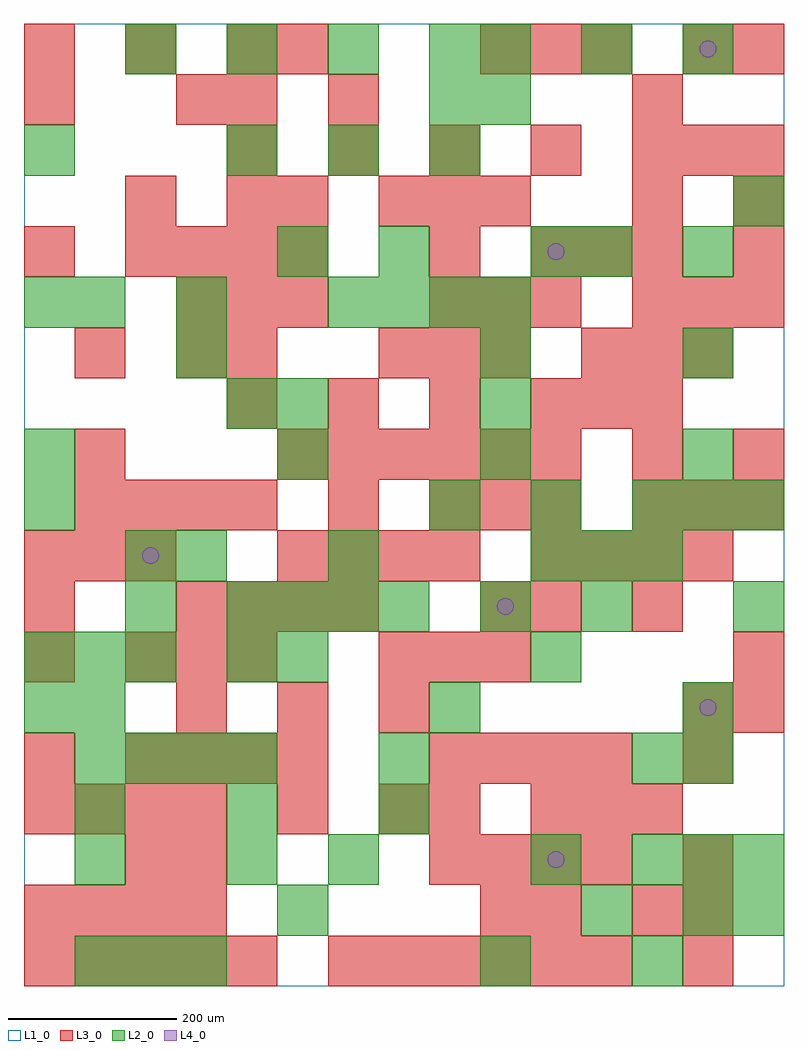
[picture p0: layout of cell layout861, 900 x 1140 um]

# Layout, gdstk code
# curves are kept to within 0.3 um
import gdstk
lib = gdstk.Library(unit=1e-6, precision=1e-09)
def R(c, l, rs):  # rectangles x0, y0, x1, y1
    for r in rs: c.add(gdstk.rectangle(r[:2], r[2:], *l))
def A(c, l, x, y, w, h, nx, ny, dx, dy):  # array of equal rectangles
    R(c, l, [(x+i*dx, y+j*dy, x+i*dx+w, y+j*dy+h) for i in range(nx) for j in range(ny)])
def P(c, l, *ps):  # polygons
    for p in ps: c.add(gdstk.Polygon(p, *l))
L1_0 = (1, 0)
L2_0 = (2, 0)
L3_0 = (3, 0)
L4_0 = (4, 0)

layout861 = lib.new_cell('layout861')
R(layout861, L1_0, [(0,0,900,1140)])
A(layout861, L2_0, 60, 0, 60, 60, 3, 1, 60, 0)
A(layout861, L2_0, 300, 60, 60, 60, 1, 3, 0, 300)
A(layout861, L2_0, 720, 120, 60, 60, 3, 1, 60, 0)
A(layout861, L2_0, 60, 180, 60, 60, 3, 1, 180, 0)
A(layout861, L2_0, 60, 240, 60, 60, 4, 1, 60, 0)
A(layout861, L2_0, 0, 360, 60, 60, 3, 1, 60, 0)
A(layout861, L2_0, 240, 420, 60, 60, 4, 1, 60, 0)
A(layout861, L2_0, 600, 480, 60, 60, 3, 1, 60, 0)
A(layout861, L2_0, 480, 540, 60, 60, 3, 1, 120, 0)
A(layout861, L2_0, 0, 600, 60, 60, 1, 3, 0, 180)
A(layout861, L2_0, 300, 600, 60, 60, 3, 1, 240, 0)
A(layout861, L2_0, 360, 780, 60, 60, 4, 1, 60, 0)
A(layout861, L2_0, 240, 960, 60, 60, 3, 1, 120, 0)
A(layout861, L2_0, 120, 1080, 60, 60, 4, 1, 120, 0)
A(layout861, L2_0, 540, 1080, 60, 60, 3, 1, 120, 0)
R(layout861, L2_0, [(540,0,600,60), (720,0,780,60), (660,60,720,120), (780,60,840,120), (840,60,900,120), (60,120,120,180), (240,120,300,180), (360,120,420,180), (600,120,660,180), (420,240,480,300), (720,240,780,300), (780,240,840,300), (0,300,60,360), (60,300,120,360), (480,300,540,360), (780,300,840,360), (240,360,300,420), (600,360,660,420), (120,420,180,480), (540,420,600,480), (660,420,720,480), (840,420,900,480), (120,480,180,540), (180,480,240,540), (360,480,420,540), (0,540,60,600), (780,540,840,600), (840,540,900,600), (240,660,300,720), (540,660,600,720), (180,720,240,780), (540,720,600,780), (780,720,840,780), (60,780,120,840), (180,780,240,840), (300,840,360,900), (420,840,480,900), (600,840,660,900), (660,840,720,900), (780,840,840,900), (840,900,900,960), (480,1020,540,1080), (540,1020,600,1080)])
A(layout861, L3_0, 0, 0, 60, 60, 5, 1, 60, 0)
A(layout861, L3_0, 360, 0, 60, 60, 6, 1, 60, 0)
A(layout861, L3_0, 780, 0, 60, 60, 1, 3, 0, 60)
A(layout861, L3_0, 0, 60, 60, 60, 4, 2, 60, 120)
A(layout861, L3_0, 480, 120, 60, 60, 4, 2, 60, 120)
A(layout861, L3_0, 600, 180, 60, 60, 3, 2, 60, 660)
A(layout861, L3_0, 120, 240, 60, 60, 4, 2, 60, 600)
A(layout861, L3_0, 180, 300, 60, 60, 3, 1, 120, 0)
A(layout861, L3_0, 120, 360, 60, 60, 3, 1, 60, 0)
A(layout861, L3_0, 420, 360, 60, 60, 3, 2, 60, 360)
A(layout861, L3_0, 840, 360, 60, 60, 1, 3, 0, 240)
A(layout861, L3_0, 180, 420, 60, 60, 4, 1, 60, 0)
A(layout861, L3_0, 0, 480, 60, 60, 3, 1, 60, 0)
A(layout861, L3_0, 300, 480, 60, 60, 4, 1, 60, 0)
A(layout861, L3_0, 600, 480, 60, 60, 4, 1, 60, 0)
A(layout861, L3_0, 60, 540, 60, 60, 4, 1, 60, 0)
A(layout861, L3_0, 480, 540, 60, 60, 3, 2, 60, 240)
A(layout861, L3_0, 720, 540, 60, 60, 3, 2, 60, 240)
A(layout861, L3_0, 300, 600, 60, 60, 6, 1, 60, 0)
A(layout861, L3_0, 240, 660, 60, 60, 4, 1, 120, 0)
A(layout861, L3_0, 660, 720, 60, 60, 3, 1, 60, 0)
A(layout861, L3_0, 180, 780, 60, 60, 3, 1, 60, 0)
A(layout861, L3_0, 420, 900, 60, 60, 3, 1, 60, 0)
A(layout861, L3_0, 240, 960, 60, 60, 5, 1, 120, 0)
A(layout861, L3_0, 0, 1080, 60, 60, 3, 1, 120, 0)
A(layout861, L3_0, 540, 1080, 60, 60, 3, 1, 60, 0)
R(layout861, L3_0, [(540,60,600,120), (600,60,660,120), (720,60,780,120), (120,120,180,180), (180,120,240,180), (300,180,360,240), (420,180,480,240), (480,180,540,240), (0,240,60,300), (780,240,840,300), (780,300,840,360), (840,300,900,360), (0,360,60,420), (0,420,60,480), (540,420,600,480), (600,420,660,480), (720,420,780,480), (360,540,420,600), (60,600,120,660), (720,600,780,660), (660,660,720,720), (720,660,780,720), (60,720,120,780), (180,720,240,780), (240,720,300,780), (0,840,60,900), (480,840,540,900), (120,900,180,960), (240,900,300,960), (300,900,360,960), (720,900,780,960), (840,900,900,960), (780,960,840,1020), (840,960,900,1020), (0,1020,60,1080), (180,1020,240,1080), (240,1020,300,1080), (360,1020,420,1080), (720,1020,780,1080), (300,1080,360,1140), (780,1080,840,1140), (840,1080,900,1140)])
P(layout861, L4_0, [(160,510),(159.239,513.827),(157.071,517.071),(153.827,519.239),(150,520),(146.173,519.239),(142.929,517.071),(140.761,513.827),(140,510),(140.761,506.173),(142.929,502.929),(146.173,500.761),(150,500),(153.827,500.761),(157.071,502.929),(159.239,506.173)],
  [(580,450),(579.239,453.827),(577.071,457.071),(573.827,459.239),(570,460),(566.173,459.239),(562.929,457.071),(560.761,453.827),(560,450),(560.761,446.173),(562.929,442.929),(566.173,440.761),(570,440),(573.827,440.761),(577.071,442.929),(579.239,446.173)],
  [(640,150),(639.239,153.827),(637.071,157.071),(633.827,159.239),(630,160),(626.173,159.239),(622.929,157.071),(620.761,153.827),(620,150),(620.761,146.173),(622.929,142.929),(626.173,140.761),(630,140),(633.827,140.761),(637.071,142.929),(639.239,146.173)],
  [(640,870),(639.239,873.827),(637.071,877.071),(633.827,879.239),(630,880),(626.173,879.239),(622.929,877.071),(620.761,873.827),(620,870),(620.761,866.173),(622.929,862.929),(626.173,860.761),(630,860),(633.827,860.761),(637.071,862.929),(639.239,866.173)],
  [(820,330),(819.239,333.827),(817.071,337.071),(813.827,339.239),(810,340),(806.173,339.239),(802.929,337.071),(800.761,333.827),(800,330),(800.761,326.173),(802.929,322.929),(806.173,320.761),(810,320),(813.827,320.761),(817.071,322.929),(819.239,326.173)],
  [(820,1110),(819.239,1113.827),(817.071,1117.071),(813.827,1119.239),(810,1120),(806.173,1119.239),(802.929,1117.071),(800.761,1113.827),(800,1110),(800.761,1106.173),(802.929,1102.929),(806.173,1100.761),(810,1100),(813.827,1100.761),(817.071,1102.929),(819.239,1106.173)])

lib.write_gds('layout861.gds')
